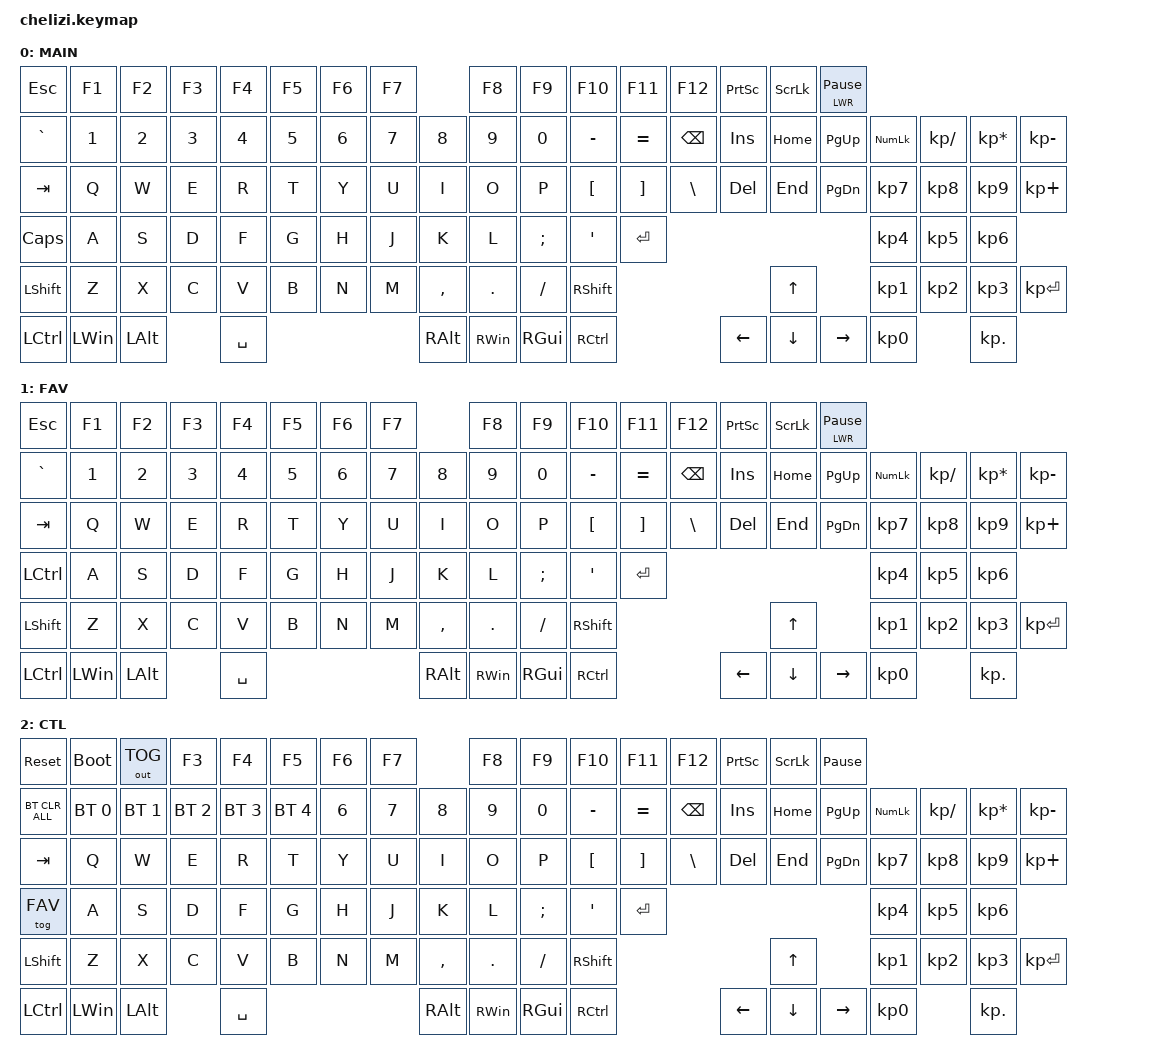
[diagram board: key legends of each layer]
/*
 * Copyright (c) 2020 The ZMK Contributors
 *
 * SPDX-License-Identifier: MIT
 */

#include <behaviors.dtsi>
#include <dt-bindings/zmk/keys.h>
#include <dt-bindings/zmk/bt.h>
#include <dt-bindings/zmk/outputs.h>

#define DEF 0
#define FAV 1
#define LWR 2

&lt { quick-tap-ms = <200>; };
&mt { quick-tap-ms = <200>; };

/ {
        keymap {
                compatible = "zmk,keymap";

                default_layer {
                        display-name = "MAIN";
                        bindings = <
&kp ESC  &kp F1 &kp F2  &kp F3  &kp F4  &kp F5  &kp F6  &kp F7  &kp F8  &kp F9  &kp F10  &kp F11  &kp F12                        &kp PSCRN  &kp SLCK  &lt LWR PAUSE_BREAK
&kp GRAVE  &kp N1    &kp N2   &kp N3  &kp N4  &kp N5  &kp N6  &kp N7  &kp N8    &kp N9   &kp N0    &kp MINUS &kp EQUAL &kp BSPC  &kp INS    &kp HOME  &kp PG_UP  &kp KP_NUM  &kp KP_SLASH  &kp KP_ASTERISK  &kp KP_MINUS
&kp TAB    &kp Q     &kp W    &kp E   &kp R   &kp T   &kp Y   &kp U   &kp I     &kp O    &kp P     &kp LBKT  &kp RBKT  &kp BSLH  &kp DEL    &kp END   &kp PG_DN  &kp KP_N7   &kp KP_N8     &kp KP_N9        &kp KP_PLUS
&kp CAPS   &kp A     &kp S    &kp D   &kp F   &kp G   &kp H   &kp J   &kp K     &kp L    &kp SEMI  &kp APOS  &kp ENTER                                           &kp KP_N4   &kp KP_N5     &kp KP_N6
&kp LSHFT  &kp Z     &kp X    &kp C   &kp V   &kp B   &kp N   &kp M   &kp COMMA &kp DOT  &kp SLASH &kp RSHFT                                &kp UP               &kp KP_N1   &kp KP_N2     &kp KP_N3        &kp KP_ENTER
&kp LCTRL  &kp LWIN  &kp LALT         &kp SPACE                       &kp RALT  &kp RWIN &kp RGUI  &kp RCTRL                     &kp LEFT   &kp DOWN  &kp RIGHT  &kp KP_N0                 &kp KP_DOT
                        >;
                };

                favorite_layer {
                        display-name = "FAV";
                        bindings = <
&kp ESC  &kp F1 &kp F2  &kp F3  &kp F4  &kp F5  &kp F6  &kp F7  &kp F8  &kp F9  &kp F10  &kp F11  &kp F12                        &kp PSCRN  &kp SLCK  &lt LWR PAUSE_BREAK
&kp GRAVE  &kp N1    &kp N2   &kp N3  &kp N4  &kp N5  &kp N6  &kp N7  &kp N8    &kp N9   &kp N0    &kp MINUS &kp EQUAL &kp BSPC  &kp INS    &kp HOME  &kp PG_UP  &kp KP_NUM  &kp KP_SLASH  &kp KP_ASTERISK  &kp KP_MINUS
&kp TAB    &kp Q     &kp W    &kp E   &kp R   &kp T   &kp Y   &kp U   &kp I     &kp O    &kp P     &kp LBKT  &kp RBKT  &kp BSLH  &kp DEL    &kp END   &kp PG_DN  &kp KP_N7   &kp KP_N8     &kp KP_N9        &kp KP_PLUS
&kp LCTRL  &kp A     &kp S    &kp D   &kp F   &kp G   &kp H   &kp J   &kp K     &kp L    &kp SEMI  &kp APOS  &kp ENTER                                           &kp KP_N4   &kp KP_N5     &kp KP_N6
&kp LSHFT  &kp Z     &kp X    &kp C   &kp V   &kp B   &kp N   &kp M   &kp COMMA &kp DOT  &kp SLASH &kp RSHFT                                &kp UP               &kp KP_N1   &kp KP_N2     &kp KP_N3        &kp KP_ENTER
&kp LCTRL  &kp LWIN  &kp LALT         &kp SPACE                       &kp RALT  &kp RWIN &kp RGUI  &kp RCTRL                     &kp LEFT   &kp DOWN  &kp RIGHT  &kp KP_N0                 &kp KP_DOT
                        >;
                };

                /*
                  | ESC    | reboot                   |
                  | F1     | rebot to bootloader      | F2  | Toggle USB/BT for key output |
                  | ~      | BT clear                 | 1-5 | select BT profile            |
                  | CAPSLK | Toggle my favorite layer |
                 */
                lower_layer {
                        display-name = "CTL";
                        bindings = <
&sys_reset &bootloader  &out OUT_TOG        &kp F3  &kp F4  &kp F5  &kp F6  &kp F7  &kp F8  &kp F9  &kp F10  &kp F11  &kp F12                        &kp PSCRN  &kp SLCK  &kp PAUSE_BREAK
&bt BT_CLR_ALL &bt BT_SEL 0 &bt BT_SEL 1 &bt BT_SEL 2 &bt BT_SEL 3 &bt BT_SEL 4 &kp N6  &kp N7  &kp N8    &kp N9   &kp N0    &kp MINUS &kp EQUAL &kp BSPC  &kp INS    &kp HOME  &kp PG_UP  &kp KP_NUM  &kp KP_SLASH  &kp KP_ASTERISK  &kp KP_MINUS
&kp TAB    &kp Q     &kp W    &kp E   &kp R   &kp T   &kp Y   &kp U   &kp I     &kp O    &kp P     &kp LBKT  &kp RBKT  &kp BSLH  &kp DEL    &kp END   &kp PG_DN  &kp KP_N7   &kp KP_N8     &kp KP_N9        &kp KP_PLUS
&tog FAV &kp A     &kp S    &kp D   &kp F   &kp G   &kp H   &kp J   &kp K     &kp L    &kp SEMI  &kp APOS  &kp ENTER                                           &kp KP_N4   &kp KP_N5     &kp KP_N6
&kp LSHFT  &kp Z     &kp X    &kp C   &kp V   &kp B   &kp N   &kp M   &kp COMMA &kp DOT  &kp SLASH &kp RSHFT                                &kp UP               &kp KP_N1   &kp KP_N2     &kp KP_N3        &kp KP_ENTER
&kp LCTRL  &kp LWIN  &kp LALT         &kp SPACE                       &kp RALT  &kp RWIN &kp RGUI  &kp RCTRL                     &kp LEFT   &kp DOWN  &kp RIGHT  &kp KP_N0                 &kp KP_DOT
                        >;
                };
        };
};
